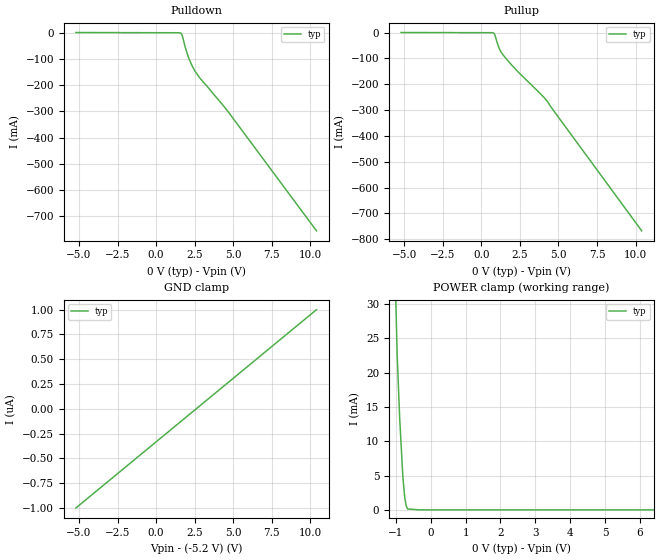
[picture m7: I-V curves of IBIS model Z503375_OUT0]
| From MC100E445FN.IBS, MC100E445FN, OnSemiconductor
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| (C) COPYRIGHT 1993-2000
| MENTOR GRAPHICS CORPORATION
| ICX STANDARD LIBRARY, ICX PROJECT MODELING,
| ICX CUSTOM MODELING, ICX VENDOR MODEL
| ALL RIGHTS RESERVED.
| THE FOLLOWING ARE TRADEMARKS OR SERVICE MARKS OF
| MENTOR GRAPHICS CORPORATION:ICX (R), ICX STANDARD
| LIBRARY(R), ICX PROJECT MODELING(R), ICX CUSTOM
| MODELING(R), qualityIBIS(TM), MODELVIEWER(TM),
| AND MODELEDITOR(TM)
| ALL COPIES OF SOFTWARE, INCLUDING BUT NOT LIMITED TO
| ANY MODIFICATIONS, ENHANCEMENTS OR DERIVATIVE WORKS,
| MUST CONTAIN ALL MENTOR GRAPHICS CORPORATION'S
| NOTICES AND LEGENDS, INCLUDING THOSE EMBEDDED IN
| SOFTWARE AND THOSE AFFIXED TO SOFTWARE MEDIUM
| AND CONTAINER, AS RECEIVED FROM MENTOR GRAPHICS
| CORPORATION.
| Model Application Version 1.89 2/18/99.
[Model] Z503375_OUT0
Model_type Output_ECL
Vref=-2.000V
Rref=50.00ohms
Cref=0.000F
Vmeas=-1.320V
C_comp 8.000pF NA NA
| variable typ   min   max
[Voltage Range] -5.200V NA NA
[POWER Clamp Reference] 0.000V NA NA
[Pullup Reference] 0.000V NA NA
[Pulldown Reference] 0.000V NA NA
[GND Clamp Reference] -5.200V NA NA
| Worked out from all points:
|   POWER clamp passes 1 mA (typ) near -0.72 V on its own axis
[GND Clamp]
-5.2V     -1uA       NA         NA
10.4V     1uA        NA         NA
[Pulldown]
-5.2V     914.3uA    NA         NA
1.465V    -42.57uA   NA         NA
1.622V    -2.503mA   NA         NA
1.708V    -13.16mA   NA         NA
1.898V    -56.95mA   NA         NA
2.08V     -90.77mA   NA         NA
2.271V    -118mA     NA         NA
2.539V    -148.1mA   NA         NA
2.832V    -172.5mA   NA         NA
4.615V    -296.7mA   NA         NA
10.4V     -755.4mA   NA         NA
[Pullup]
-5.2V     698.1uA    NA         NA
804.9mV   -1.776mA   NA         NA
893.1mV   -11.03mA   NA         NA
1.055V    -43.55mA   NA         NA
1.176V    -62.79mA   NA         NA
1.445V    -88.59mA   NA         NA
2.358V    -150.3mA   NA         NA
3.843V    -237.1mA   NA         NA
4.306V    -268.2mA   NA         NA
4.521V    -288.3mA   NA         NA
10.4V     -768mA     NA         NA
[POWER Clamp]
-5.2V     1.621A     NA         NA
-1.151V   72.97mA    NA         NA
-1.045V   38.71mA    NA         NA
-966.4mV  22.65mA    NA         NA
-893.2mV  13.32mA    NA         NA
-803.7mV  4.886mA    NA         NA
-748.4mV  1.781mA    NA         NA
-707.4mV  616.8uA    NA         NA
-668.8mV  129.5uA    NA         NA
-334.4mV  0A         NA         NA
10.4V     0A         NA         NA
[Ramp]
| variable typ min max
dV/dt_r 456.5m/201.8p NA NA
dV/dt_f 456.5m/189.7p NA NA
R_load = 500.0Ohms
